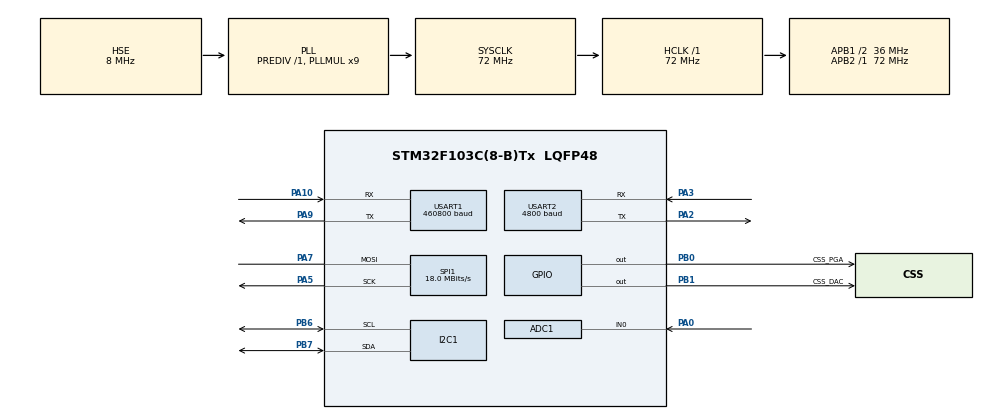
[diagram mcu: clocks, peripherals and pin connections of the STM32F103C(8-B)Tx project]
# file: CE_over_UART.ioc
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<<<<<<< HEAD
ADC1.Channel-0\#ChannelRegularConversion=ADC_CHANNEL_0
ADC1.NbrOfConversionFlag=1
ADC1.Rank-0\#ChannelRegularConversion=1
ADC1.SamplingTime-0\#ChannelRegularConversion=ADC_SAMPLETIME_1CYCLE_5
ADC1.master=1
Mcu.Family=STM32F1
Mcu.Name=STM32F103C(8-B)Tx
Mcu.Package=LQFP48
NVIC.PriorityGroup=NVIC_PRIORITYGROUP_4
PA0-WKUP.Signal=ADCx_IN0
PA10.Mode=Asynchronous
PA10.Signal=USART1_RX
PA13.Mode=Serial_Wire
PA13.Signal=SYS_JTMS-SWDIO
PA14.Mode=Serial_Wire
PA14.Signal=SYS_JTCK-SWCLK
PA2.Mode=Asynchronous
PA2.Signal=USART2_TX
PA3.Mode=Asynchronous
PA3.Signal=USART2_RX
PA5.Mode=Simplex_Bidirectional_Master
PA5.Signal=SPI1_SCK
PA7.Mode=Simplex_Bidirectional_Master
PA7.Signal=SPI1_MOSI
PA9.Mode=Asynchronous
PA9.Signal=USART1_TX
PB0.GPIO_Label=CSS_PGA
PB0.Signal=GPIO_Output
PB1.GPIO_Label=CSS_DAC
PB1.Signal=GPIO_Output
PC14-OSC32_IN.Mode=LSE-External-Oscillator
PC14-OSC32_IN.Signal=RCC_OSC32_IN
PC15-OSC32_OUT.Mode=LSE-External-Oscillator
PC15-OSC32_OUT.Signal=RCC_OSC32_OUT
PD0-OSC_IN.Mode=HSE-External-Oscillator
PD0-OSC_IN.Signal=RCC_OSC_IN
PD1-OSC_OUT.Mode=HSE-External-Oscillator
PD1-OSC_OUT.Signal=RCC_OSC_OUT
ProjectManager.HeapSize=0x200
ProjectManager.StackSize=0x400
ProjectManager.TargetToolchain=Makefile
RCC.ADCPresc=RCC_ADCPCLK2_DIV6
RCC.AHBFreq_Value=72000000
RCC.APB1CLKDivider=RCC_HCLK_DIV2
RCC.APB1Freq_Value=36000000
RCC.APB1TimFreq_Value=72000000
RCC.APB2Freq_Value=72000000
RCC.APB2TimFreq_Value=72000000
RCC.HCLKFreq_Value=72000000
RCC.PLLMUL=RCC_PLL_MUL9
RCC.PLLSourceVirtual=RCC_PLLSOURCE_HSE
RCC.SYSCLKFreq_VALUE=72000000
RCC.SYSCLKSource=RCC_SYSCLKSOURCE_PLLCLK
RCC.USBFreq_Value=72000000
SH.ADCx_IN0.0=ADC1_IN0,IN0
SPI1.BaudRatePrescaler=SPI_BAUDRATEPRESCALER_4
SPI1.CLKPhase=SPI_PHASE_2EDGE
SPI1.CLKPolarity=SPI_POLARITY_HIGH
SPI1.CalculateBaudRate=18.0 MBits/s
SPI1.Direction=SPI_DIRECTION_1LINE
SPI1.Mode=SPI_MODE_MASTER
SPI1.VirtualType=VM_MASTER
USART1.BaudRate=460800
USART1.VirtualMode=VM_ASYNC
USART2.BaudRate=4800
USART2.VirtualMode=VM_ASYNC
board=custom
=======
ADC1.Channel-0\#ChannelRegularConversion=ADC_CHANNEL_0
ADC1.NbrOfConversionFlag=1
ADC1.Rank-0\#ChannelRegularConversion=1
ADC1.SamplingTime-0\#ChannelRegularConversion=ADC_SAMPLETIME_1CYCLE_5
ADC1.master=1
Mcu.Family=STM32F1
Mcu.Name=STM32F103C(8-B)Tx
Mcu.Package=LQFP48
NVIC.PriorityGroup=NVIC_PRIORITYGROUP_4
PA0-WKUP.Signal=ADCx_IN0
PA10.Mode=Asynchronous
PA10.Signal=USART1_RX
PA13.Mode=Serial_Wire
PA13.Signal=SYS_JTMS-SWDIO
PA14.Mode=Serial_Wire
PA14.Signal=SYS_JTCK-SWCLK
PA2.Mode=Asynchronous
PA2.Signal=USART2_TX
PA3.Mode=Asynchronous
PA3.Signal=USART2_RX
PA5.Mode=Simplex_Bidirectional_Master
PA5.Signal=SPI1_SCK
PA7.Mode=Simplex_Bidirectional_Master
PA7.Signal=SPI1_MOSI
PA9.Mode=Asynchronous
PA9.Signal=USART1_TX
PB0.GPIO_Label=CSS_PGA
PB0.Signal=GPIO_Output
PB1.GPIO_Label=CSS_DAC
PB1.Signal=GPIO_Output
PB6.Mode=I2C
PB6.Signal=I2C1_SCL
PB7.Mode=I2C
PB7.Signal=I2C1_SDA
PC14-OSC32_IN.Mode=LSE-External-Oscillator
PC14-OSC32_IN.Signal=RCC_OSC32_IN
PC15-OSC32_OUT.Mode=LSE-External-Oscillator
PC15-OSC32_OUT.Signal=RCC_OSC32_OUT
PD0-OSC_IN.Mode=HSE-External-Oscillator
PD0-OSC_IN.Signal=RCC_OSC_IN
PD1-OSC_OUT.Mode=HSE-External-Oscillator
PD1-OSC_OUT.Signal=RCC_OSC_OUT
ProjectManager.HeapSize=0x200
ProjectManager.StackSize=0x400
ProjectManager.TargetToolchain=Makefile
RCC.ADCPresc=RCC_ADCPCLK2_DIV6
RCC.AHBFreq_Value=72000000
RCC.APB1CLKDivider=RCC_HCLK_DIV2
RCC.APB1Freq_Value=36000000
RCC.APB1TimFreq_Value=72000000
RCC.APB2Freq_Value=72000000
RCC.APB2TimFreq_Value=72000000
RCC.HCLKFreq_Value=72000000
RCC.PLLMUL=RCC_PLL_MUL9
RCC.PLLSourceVirtual=RCC_PLLSOURCE_HSE
RCC.SYSCLKFreq_VALUE=72000000
RCC.SYSCLKSource=RCC_SYSCLKSOURCE_PLLCLK
RCC.USBFreq_Value=72000000
SH.ADCx_IN0.0=ADC1_IN0,IN0
SPI1.BaudRatePrescaler=SPI_BAUDRATEPRESCALER_4
SPI1.CLKPhase=SPI_PHASE_2EDGE
SPI1.CLKPolarity=SPI_POLARITY_HIGH
SPI1.CalculateBaudRate=18.0 MBits/s
SPI1.Direction=SPI_DIRECTION_1LINE
SPI1.Mode=SPI_MODE_MASTER
SPI1.VirtualType=VM_MASTER
USART1.BaudRate=460800
USART1.VirtualMode=VM_ASYNC
USART2.BaudRate=4800
USART2.VirtualMode=VM_ASYNC
board=custom
>>>>>>> 083e68a304237016ef23b768791a96ca7ccb80cb

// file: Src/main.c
/* USER CODE BEGIN Header */
/**
  ******************************************************************************
  * @file           : main.c
  * @brief          : Main program body
  ******************************************************************************
  * @attention
  *
  * <h2><center>&copy; Copyright (c) 2020 STMicroelectronics.
  * All rights reserved.</center></h2>
  *
  * This software component is licensed by ST under BSD 3-Clause license,
  * the "License"; You may not use this file except in compliance with the
  * License. You may obtain a copy of the License at:
  *                        opensource.org/licenses/BSD-3-Clause
  *
  ******************************************************************************
  */
/* USER CODE END Header */

#include "main.h"

/* USER CODE BEGIN Includes */
#include <string.h>
#include <stdio.h>
#include <math.h>
/* USER CODE END Includes */

/* USER CODE BEGIN PD */
#define MAX_LOG_MSG_SIZE 128
/* USER CODE END PD */

ADC_HandleTypeDef hadc1;

I2C_HandleTypeDef hi2c1;

SPI_HandleTypeDef hspi1;

UART_HandleTypeDef huart1;
UART_HandleTypeDef huart2;

/* USER CODE BEGIN PV */
static uint8_t SPI_msg[MAX_LOG_MSG_SIZE] = {0};
/* USER CODE END PV */

void SystemClock_Config(void);
static void MX_GPIO_Init(void);
static void MX_ADC1_Init(void);
static void MX_SPI1_Init(void);
static void MX_USART1_UART_Init(void);
static void MX_USART2_UART_Init(void);
static void MX_I2C1_Init(void);
/* USER CODE BEGIN PFP */
void setGain(gain_t new_gain);
void setVref(uint16_t _new_Vref);
/* USER CODE END PFP */

/* USER CODE BEGIN 0 */
//From https://electronics.stackexchange.com/questions/272427/stm32-busy-flag-is-set-after-i2c-initialization
/**
1. Disable the I2C peripheral by clearing the PE bit in I2Cx_CR1 register.
2. Configure the SCL and SDA I/Os as General Purpose Output Open-Drain, High level
(Write 1 to GPIOx_ODR).
3. Check SCL and SDA High level in GPIOx_IDR.
4. Configure the SDA I/O as General Purpose Output Open-Drain, Low level (Write 0 to
GPIOx_ODR).
5. Check SDA Low level in GPIOx_IDR.
6. Configure the SCL I/O as General Purpose Output Open-Drain, Low level (Write 0 to
GPIOx_ODR).
7. Check SCL Low level in GPIOx_IDR.
8. Configure the SCL I/O as General Purpose Output Open-Drain, High level (Write 1 to
GPIOx_ODR).
9. Check SCL High level in GPIOx_IDR.
10. Configure the SDA I/O as General Purpose Output Open-Drain , High level (Write 1 to
GPIOx_ODR).
11. Check SDA High level in GPIOx_IDR.
12. Configure the SCL and SDA I/Os as Alternate function Open-Drain.
13. Set SWRST bit in I2Cx_CR1 register.
14. Clear SWRST bit in I2Cx_CR1 register.
15. Enable the I2C peripheral by setting the PE bit in I2Cx_CR1 register.
**/

void HAL_GPIO_WRITE_ODR(GPIO_TypeDef* GPIOx, uint16_t GPIO_Pin)
{
  /* Check the parameters */
  assert_param(IS_GPIO_PIN(GPIO_Pin));

  GPIOx->ODR |= GPIO_Pin;
}

void HAL_I2C_ClearBusyFlagErrata_2_14_7(I2C_HandleTypeDef *hi2c) {

    static uint8_t resetTried = 0;
    if (resetTried == 1) {
        return ;
    }
    uint32_t SDA_PIN = GPIO_PIN_7;
    uint32_t SCL_PIN = GPIO_PIN_6;
    GPIO_InitTypeDef GPIO_InitStruct;

    // 1
    __HAL_I2C_DISABLE(hi2c);

    // 2
    GPIO_InitStruct.Pin = SDA_PIN|SCL_PIN;
    GPIO_InitStruct.Mode = GPIO_MODE_OUTPUT_OD;
    GPIO_InitStruct.Pull = GPIO_NOPULL;
    GPIO_InitStruct.Speed = GPIO_SPEED_FREQ_HIGH;
    HAL_GPIO_Init(GPIOB, &GPIO_InitStruct);

    HAL_GPIO_WRITE_ODR(GPIOB, SDA_PIN);
    HAL_GPIO_WRITE_ODR(GPIOB, SCL_PIN);

    // 3
    GPIO_PinState pinState;
    if (HAL_GPIO_ReadPin(GPIOB, SDA_PIN) == GPIO_PIN_RESET) {
        for(;;){}
    }
    if (HAL_GPIO_ReadPin(GPIOB, SCL_PIN) == GPIO_PIN_RESET) {
        for(;;){}
    }

    // 4
    GPIO_InitStruct.Pin = SDA_PIN;
    HAL_GPIO_Init(GPIOB, &GPIO_InitStruct);

    HAL_GPIO_TogglePin(GPIOB, SDA_PIN);

    // 5
    if (HAL_GPIO_ReadPin(GPIOB, SDA_PIN) == GPIO_PIN_SET) {
        for(;;){}
    }

    // 6
    GPIO_InitStruct.Pin = SCL_PIN;
    HAL_GPIO_Init(GPIOB, &GPIO_InitStruct);

    HAL_GPIO_TogglePin(GPIOB, SCL_PIN);

    // 7
    if (HAL_GPIO_ReadPin(GPIOB, SCL_PIN) == GPIO_PIN_SET) {
        for(;;){}
    }

    // 8
    GPIO_InitStruct.Pin = SDA_PIN;
    HAL_GPIO_Init(GPIOB, &GPIO_InitStruct);

    HAL_GPIO_WRITE_ODR(GPIOB, SDA_PIN);

    // 9
    if (HAL_GPIO_ReadPin(GPIOB, SDA_PIN) == GPIO_PIN_RESET) {
        for(;;){}
    }

    // 10
    GPIO_InitStruct.Pin = SCL_PIN;
    HAL_GPIO_Init(GPIOB, &GPIO_InitStruct);

    HAL_GPIO_WRITE_ODR(GPIOB, SCL_PIN);

    // 11
    if (HAL_GPIO_ReadPin(GPIOB, SCL_PIN) == GPIO_PIN_RESET) {
        for(;;){}
    }

    // 12
    GPIO_InitStruct.Pin = SDA_PIN|SCL_PIN;
    GPIO_InitStruct.Mode = GPIO_MODE_AF_OD;
    //GPIO_InitStruct.Alternate = NUCLEO_I2C_EXPBD_SCL_SDA_AF;
    HAL_GPIO_Init(GPIOB, &GPIO_InitStruct);

   // 13
   hi2c->Instance->CR1 |= I2C_CR1_SWRST;

   // 14
   hi2c->Instance->CR1 ^= I2C_CR1_SWRST;

   // 15
   __HAL_I2C_ENABLE(hi2c);

   resetTried = 1;
}
/* USER CODE END 0 */

int main(void)
{
  /* USER CODE BEGIN 1 */
  static char ADC_msg[MAX_LOG_MSG_SIZE] = {0};
  static const char channel_name[] = "LightSensor";
  static volatile uint16_t lightVal = 0;
  static volatile uint8_t zoomAndEnhance = 0;
  static const uint8_t gain[8] = {1,2,4,5,8,10,16,32};
  static volatile gain_t gain_idx = GAIN_OF_1;
  static volatile float Vin_min = 0;
  static volatile float Vin_max = 3.300;
  static volatile uint16_t Vref = 0;
  static uint8_t I2C_msg[MAX_LOG_MSG_SIZE] = {0};
  /* USER CODE END 1 */

  /* MCU Configuration--------------------------------------------------------*/

  /* Reset of all peripherals, Initializes the Flash interface and the Systick. */
  HAL_Init();

  /* Configure the system clock */
  SystemClock_Config();

  /* Initialize all configured peripherals */
  MX_GPIO_Init();
  MX_ADC1_Init();
  MX_SPI1_Init();
  MX_USART1_UART_Init();
  MX_USART2_UART_Init();
  MX_I2C1_Init();
  /* USER CODE BEGIN 2 */
  if (HAL_ADCEx_Calibration_Start(&hadc1) != HAL_OK)
  {
      Error_Handler();
  }

  /*
  HAL_I2C_ClearBusyFlagErrata_2_14_7(&hi2c1);

  volatile uint8_t res = 0;
  while ( res = HAL_I2C_IsDeviceReady(&hi2c1, (uint16_t)(0x2A<<1), 1000, HAL_MAX_DELAY)  )
  {
  	__asm("nop");
  }
  //Reset the load scale
  //Read REG0x0, PU_CTRL. Data should be 0.
  //HAL_I2C_Mem_Read(&hi2c1, 0x54, 0x0, 0x2, &I2C_msg[0], 0x2, HAL_MAX_DELAY);
  HAL_I2C_Master_Transmit(&hi2c1, (uint16_t)0x54, &I2C_msg[0], 2, HAL_MAX_DELAY);
  //Write 0x1 to REG0x0, PU_CTRL, to put device in reset state.
  I2C_msg[0] = 0x1;
  HAL_I2C_Mem_Write(&hi2c1, 0x54, 0x0, 0x2, &I2C_msg[0], 0x2, HAL_MAX_DELAY);
  I2C_msg[0] = 0x0;
  //Read REG0x0, PU_CTRL. Data should be 1.
  HAL_I2C_Mem_Read(&hi2c1, 0x54, 0x0, 0x2, &I2C_msg[0], 0x2, HAL_MAX_DELAY);

  //Set initial load scale register values
  //Take device out of reset, set AVDD to internal LDO, and turn on analog and digital circuits
  I2C_msg[0] = 0x85;
  HAL_I2C_Mem_Write(&hi2c1, 0x54, 0x0, 0x2, &I2C_msg[0], 0x2, HAL_MAX_DELAY);
  I2C_msg[0] = 0x0;
  //Read REG0x0, PU_CTRL. Data should be 0xAE.
  HAL_I2C_Mem_Read(&hi2c1, 0x54, 0x0, 0x2, &I2C_msg[0], 0x2, HAL_MAX_DELAY);
  */
  /* USER CODE END 2 */

  /* Infinite loop */
  while (1)
  {

    /* USER CODE BEGIN 3 */
    //int z = 0;
    //z = 4*t;
    if (zoomAndEnhance)
    {
    	//calculate gain from Vin_max, Vin_min
    	float gain_float = 3.3 / ( Vin_max - Vin_min );
    	for ( gain_idx = GAIN_OF_32; gain_idx > 0; gain_idx--)
    	{
    		if ( gain[gain_idx] < gain_float ) break;
    	}
    	//update gain
    	setGain(gain_idx);

    	//calculate Vref from gain, Vin_min
    	float Vref_float = ( gain[gain_idx] * Vin_min ) / ( gain[gain_idx] - 1 );
    	uint16_t Vref = round( Vref_float * 4095 / 3.3f );
    	//update Vref
    	setVref(Vref);
    }

    HAL_ADC_Start(&hadc1);
    while( HAL_ADC_PollForConversion(&hadc1, HAL_MAX_DELAY) != HAL_OK );
    lightVal = HAL_ADC_GetValue(&hadc1);

    sprintf(&ADC_msg[0], "{ \"channel\" : \"%s\", \"time\" : %d, \"value\" : %d }\n\r", channel_name, (int)HAL_GetTick(), lightVal);
    HAL_UART_Transmit(&huart1, (uint8_t*)&ADC_msg[0], strlen(ADC_msg), HAL_MAX_DELAY);

    memset(&ADC_msg[0], 0, MAX_LOG_MSG_SIZE);

    HAL_Delay(5);
  }
  /* USER CODE END 3 */
}

void SystemClock_Config(void)
{
  RCC_OscInitTypeDef RCC_OscInitStruct = {0};
  RCC_ClkInitTypeDef RCC_ClkInitStruct = {0};
  RCC_PeriphCLKInitTypeDef PeriphClkInit = {0};

  /** Initializes the CPU, AHB and APB busses clocks
  */
  RCC_OscInitStruct.OscillatorType = RCC_OSCILLATORTYPE_HSE;
  RCC_OscInitStruct.HSEState = RCC_HSE_ON;
  RCC_OscInitStruct.HSEPredivValue = RCC_HSE_PREDIV_DIV1;
  RCC_OscInitStruct.HSIState = RCC_HSI_ON;
  RCC_OscInitStruct.PLL.PLLState = RCC_PLL_ON;
  RCC_OscInitStruct.PLL.PLLSource = RCC_PLLSOURCE_HSE;
  RCC_OscInitStruct.PLL.PLLMUL = RCC_PLL_MUL9;
  if (HAL_RCC_OscConfig(&RCC_OscInitStruct) != HAL_OK)
  {
    Error_Handler();
  }
  /** Initializes the CPU, AHB and APB busses clocks
  */
  RCC_ClkInitStruct.ClockType = RCC_CLOCKTYPE_HCLK|RCC_CLOCKTYPE_SYSCLK
                              |RCC_CLOCKTYPE_PCLK1|RCC_CLOCKTYPE_PCLK2;
  RCC_ClkInitStruct.SYSCLKSource = RCC_SYSCLKSOURCE_PLLCLK;
  RCC_ClkInitStruct.AHBCLKDivider = RCC_SYSCLK_DIV1;
  RCC_ClkInitStruct.APB1CLKDivider = RCC_HCLK_DIV2;
  RCC_ClkInitStruct.APB2CLKDivider = RCC_HCLK_DIV1;

  if (HAL_RCC_ClockConfig(&RCC_ClkInitStruct, FLASH_LATENCY_2) != HAL_OK)
  {
    Error_Handler();
  }
  PeriphClkInit.PeriphClockSelection = RCC_PERIPHCLK_ADC;
  PeriphClkInit.AdcClockSelection = RCC_ADCPCLK2_DIV6;
  if (HAL_RCCEx_PeriphCLKConfig(&PeriphClkInit) != HAL_OK)
  {
    Error_Handler();
  }
}

static void MX_ADC1_Init(void)
{

  ADC_ChannelConfTypeDef sConfig = {0};

  /** Common config
  */
  hadc1.Instance = ADC1;
  hadc1.Init.ScanConvMode = ADC_SCAN_DISABLE;
  hadc1.Init.ContinuousConvMode = DISABLE;
  hadc1.Init.DiscontinuousConvMode = DISABLE;
  hadc1.Init.ExternalTrigConv = ADC_SOFTWARE_START;
  hadc1.Init.DataAlign = ADC_DATAALIGN_RIGHT;
  hadc1.Init.NbrOfConversion = 1;
  if (HAL_ADC_Init(&hadc1) != HAL_OK)
  {
    Error_Handler();
  }
  /** Configure Regular Channel
  */
  sConfig.Channel = ADC_CHANNEL_0;
  sConfig.Rank = ADC_REGULAR_RANK_1;
  sConfig.SamplingTime = ADC_SAMPLETIME_1CYCLE_5;
  if (HAL_ADC_ConfigChannel(&hadc1, &sConfig) != HAL_OK)
  {
    Error_Handler();
  }

}

static void MX_I2C1_Init(void)
{

  hi2c1.Instance = I2C1;
  hi2c1.Init.ClockSpeed = 100000;
  hi2c1.Init.DutyCycle = I2C_DUTYCYCLE_2;
  hi2c1.Init.OwnAddress1 = 0;
  hi2c1.Init.AddressingMode = I2C_ADDRESSINGMODE_7BIT;
  hi2c1.Init.DualAddressMode = I2C_DUALADDRESS_DISABLE;
  hi2c1.Init.OwnAddress2 = 0;
  hi2c1.Init.GeneralCallMode = I2C_GENERALCALL_DISABLE;
  hi2c1.Init.NoStretchMode = I2C_NOSTRETCH_DISABLE;
  if (HAL_I2C_Init(&hi2c1) != HAL_OK)
  {
    Error_Handler();
  }

}

static void MX_SPI1_Init(void)
{

  /* SPI1 parameter configuration*/
  hspi1.Instance = SPI1;
  hspi1.Init.Mode = SPI_MODE_MASTER;
  hspi1.Init.Direction = SPI_DIRECTION_1LINE;
  hspi1.Init.DataSize = SPI_DATASIZE_8BIT;
  hspi1.Init.CLKPolarity = SPI_POLARITY_HIGH;
  hspi1.Init.CLKPhase = SPI_PHASE_2EDGE;
  hspi1.Init.NSS = SPI_NSS_SOFT;
  hspi1.Init.BaudRatePrescaler = SPI_BAUDRATEPRESCALER_4;
  hspi1.Init.FirstBit = SPI_FIRSTBIT_MSB;
  hspi1.Init.TIMode = SPI_TIMODE_DISABLE;
  hspi1.Init.CRCCalculation = SPI_CRCCALCULATION_DISABLE;
  hspi1.Init.CRCPolynomial = 10;
  if (HAL_SPI_Init(&hspi1) != HAL_OK)
  {
    Error_Handler();
  }

}

static void MX_USART1_UART_Init(void)
{

  huart1.Instance = USART1;
  huart1.Init.BaudRate = 460800;
  huart1.Init.WordLength = UART_WORDLENGTH_8B;
  huart1.Init.StopBits = UART_STOPBITS_1;
  huart1.Init.Parity = UART_PARITY_NONE;
  huart1.Init.Mode = UART_MODE_TX_RX;
  huart1.Init.HwFlowCtl = UART_HWCONTROL_NONE;
  huart1.Init.OverSampling = UART_OVERSAMPLING_16;
  if (HAL_UART_Init(&huart1) != HAL_OK)
  {
    Error_Handler();
  }

}

static void MX_USART2_UART_Init(void)
{

  huart2.Instance = USART2;
  huart2.Init.BaudRate = 4800;
  huart2.Init.WordLength = UART_WORDLENGTH_8B;
  huart2.Init.StopBits = UART_STOPBITS_1;
  huart2.Init.Parity = UART_PARITY_NONE;
  huart2.Init.Mode = UART_MODE_TX_RX;
  huart2.Init.HwFlowCtl = UART_HWCONTROL_NONE;
  huart2.Init.OverSampling = UART_OVERSAMPLING_16;
  if (HAL_UART_Init(&huart2) != HAL_OK)
  {
    Error_Handler();
  }

}

static void MX_GPIO_Init(void)
{
  GPIO_InitTypeDef GPIO_InitStruct = {0};

  /* GPIO Ports Clock Enable */
  __HAL_RCC_GPIOC_CLK_ENABLE();
  __HAL_RCC_GPIOD_CLK_ENABLE();
  __HAL_RCC_GPIOA_CLK_ENABLE();
  __HAL_RCC_GPIOB_CLK_ENABLE();

  /*Configure GPIO pin Output Level */
  HAL_GPIO_WritePin(GPIOB, CSS_PGA_Pin|CSS_DAC_Pin, GPIO_PIN_RESET);

  /*Configure GPIO pins : CSS_PGA_Pin CSS_DAC_Pin */
  GPIO_InitStruct.Pin = CSS_PGA_Pin|CSS_DAC_Pin;
  GPIO_InitStruct.Mode = GPIO_MODE_OUTPUT_PP;
  GPIO_InitStruct.Pull = GPIO_NOPULL;
  GPIO_InitStruct.Speed = GPIO_SPEED_FREQ_LOW;
  HAL_GPIO_Init(GPIOB, &GPIO_InitStruct);

}

/* USER CODE BEGIN 4 */
void setGain(gain_t new_gain)
{
	memset(&SPI_msg[0], 0, MAX_LOG_MSG_SIZE);
	SPI_msg[0] = 0x40;
    SPI_msg[1] = new_gain;
    HAL_GPIO_WritePin(CSS_PGA_GPIO_Port, CSS_PGA_Pin, GPIO_PIN_RESET);
    HAL_SPI_Transmit(&hspi1, &SPI_msg[0], 2, HAL_MAX_DELAY);
    HAL_GPIO_WritePin(CSS_PGA_GPIO_Port, CSS_PGA_Pin, GPIO_PIN_SET);
    memset(&SPI_msg[0], 0, MAX_LOG_MSG_SIZE);
}

void setVref(uint16_t _new_Vref)
{
	volatile uint16_t new_Vref = _new_Vref;
	if ( new_Vref > 4095 ) new_Vref = 4095;

	memset(&SPI_msg[0], 0, MAX_LOG_MSG_SIZE);
	SPI_msg[0] = ( 0x70 | ( ( new_Vref >> 8 ) & 0xF ) );
    SPI_msg[1] = ( new_Vref & 0xFF );
    HAL_GPIO_WritePin(CSS_DAC_GPIO_Port, CSS_DAC_Pin, GPIO_PIN_RESET);
    HAL_SPI_Transmit(&hspi1, &SPI_msg[0], 2, HAL_MAX_DELAY);
    HAL_GPIO_WritePin(CSS_DAC_GPIO_Port, CSS_DAC_Pin, GPIO_PIN_SET);
    memset(&SPI_msg[0], 0, MAX_LOG_MSG_SIZE);
}
/* USER CODE END 4 */

void Error_Handler(void)
{
  /* USER CODE BEGIN Error_Handler_Debug */
  /* User can add his own implementation to report the HAL error return state */
	__asm("bkpt 0");
  /* USER CODE END Error_Handler_Debug */
}

/************************ (C) COPYRIGHT STMicroelectronics *****END OF FILE****/
